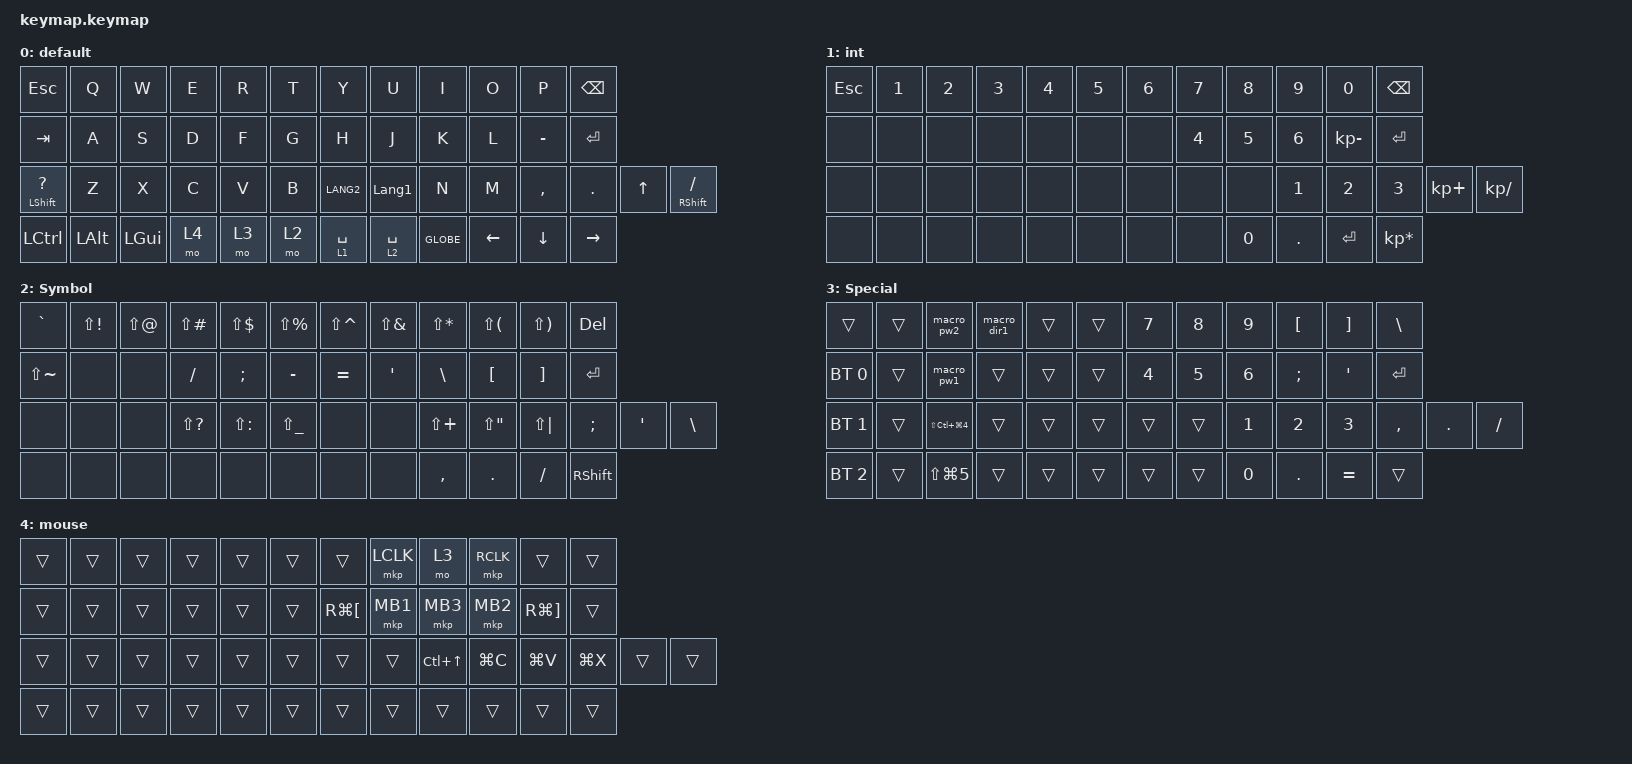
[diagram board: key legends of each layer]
#include <behaviors.dtsi>
#include <dt-bindings/zmk/bt.h>
#include <dt-bindings/zmk/keys.h>
#include <dt-bindings/zmk/pointing.h>

/ {
    combos {
        compatible = "zmk,combos";

        copy {
            bindings = <&kp LG(C)>;
            key-positions = <27 28>;
        };

        paste {
            bindings = <&kp LG(V)>;
            key-positions = <28 29>;
        };

        cut {
            bindings = <&kp LG(X)>;
            key-positions = <26 27>;
        };
    };

    macros {
        macro_pw1: macro_pw1 {
            compatible = "zmk,behavior-macro";
            #binding-cells = <0>;
            wait-ms = <1>;
            tap-ms = <1>;
            bindings = <&kp N1 &kp N9 &kp N7 &kp N0 &kp N7 &kp N9 &kp N1>;
            label = "MACRO_PW1";
        };

        macro_pw2: macro_pw2 {
            compatible = "zmk,behavior-macro";
            #binding-cells = <0>;
            wait-ms = <1>;
            tap-ms = <1>;
            bindings = <&kp N2 &kp N0 &kp N1 &kp N8 &kp LS(S) &kp T &kp AT &kp F &kp Y &kp N1 &kp N1 &kp N2 &kp N0>;
            label = "MACRO_PW2";
        };

        macro_dir1: macro_dir1 {
            compatible = "zmk,behavior-macro";
            #binding-cells = <0>;
            bindings = <&kp H &kp B &kp N1 &kp N6 &kp N0 &kp N5 &kp N5>;
            label = "MACRO_DIR1";
        };
    };

    keymap {
        compatible = "zmk,keymap";

        default {
            bindings = <
&kp ESC             &kp Q         &kp W         &kp E  &kp R  &kp T  &kp Y        &kp U           &kp I      &kp O           &kp P           &kp BSPC
&kp TAB             &kp A         &kp S         &kp D  &kp F  &kp G  &kp H        &kp J           &kp K      &kp L           &kp MINUS       &kp ENTER
&mt LSHFT QUESTION  &kp Z         &kp X         &kp C  &kp V  &kp B  &kp LANG2    &kp LANGUAGE_1  &kp N      &kp M           &kp COMMA       &kp DOT          &kp UP_ARROW  &mt RIGHT_SHIFT SLASH
&kp LCTRL           &kp LEFT_ALT  &kp LEFT_GUI  &mo 4  &mo 3  &mo 2  &lt 1 SPACE  &lt 2 SPACE     &kp GLOBE  &kp LEFT_ARROW  &kp DOWN_ARROW  &kp RIGHT_ARROW
            >;
        };

        int {
            bindings = <
&kp ESCAPE  &kp N1  &kp N2  &kp N3  &kp N4  &kp N5  &kp N6  &kp N7  &kp N8  &kp N9   &kp N0        &kp BACKSPACE
&none       &none   &none   &none   &none   &none   &none   &kp N4  &kp N5  &kp N6   &kp KP_MINUS  &kp ENTER
&none       &none   &none   &none   &none   &none   &none   &none   &none   &kp N1   &kp N2        &kp N3           &kp KP_PLUS  &kp KP_DIVIDE
&none       &none   &none   &none   &none   &none   &none   &none   &kp N0  &kp DOT  &kp ENTER     &kp KP_ASTERISK
            >;
        };

        Symbol {
            bindings = <
&kp GRAVE      &kp LS(EXCL)  &kp LS(AT)  &kp LS(POUND)  &kp LS(DLLR)   &kp LS(PRCNT)  &kp LS(CARET)  &kp LS(AMPS)  &kp LS(STAR)  &kp LS(LPAR)  &kp LS(RPAR)  &kp DEL
&kp LS(TILDE)  &none         &none       &kp FSLH       &kp SEMI       &kp MINUS      &kp EQUAL      &kp SQT       &kp BSLH      &kp LBKT      &kp RBKT      &kp ENTER
&none          &none         &none       &kp LS(QMARK)  &kp LS(COLON)  &kp LS(UNDER)  &none          &none         &kp LS(PLUS)  &kp LS(DQT)   &kp LS(PIPE)  &kp SEMI   &kp APOS  &kp BACKSLASH
&none          &none         &none       &none          &none          &none          &none          &none         &kp COMMA     &kp DOT       &kp FSLH      &kp RSHFT
            >;
        };

        Special {
            bindings = <
&trans        &trans  &macro_pw2          &macro_dir1  &trans  &trans  &kp N7  &kp N8  &kp N9  &kp LBKT  &kp RBKT   &kp BSLH
&bt BT_SEL 0  &trans  &macro_pw1          &trans       &trans  &trans  &kp N4  &kp N5  &kp N6  &kp SEMI  &kp SQT    &kp ENTER
&bt BT_SEL 1  &trans  &kp LS(LC(LG(N4)))  &trans       &trans  &trans  &trans  &trans  &kp N1  &kp N2    &kp N3     &kp COMMA  &kp DOT  &kp FSLH
&bt BT_SEL 2  &trans  &kp LS(LG(N5))      &trans       &trans  &trans  &trans  &trans  &kp N0  &kp DOT   &kp EQUAL  &trans
            >;
        };

        mouse {
            bindings = <
&trans  &trans  &trans  &trans  &trans  &trans  &trans                &mkp LCLK  &mo 3             &mkp RCLK  &trans                 &trans
&trans  &trans  &trans  &trans  &trans  &trans  &kp RG(LEFT_BRACKET)  &mkp MB1   &mkp MB3          &mkp MB2   &kp RG(RIGHT_BRACKET)  &trans
&trans  &trans  &trans  &trans  &trans  &trans  &trans                &trans     &kp LC(UP_ARROW)  &kp LG(C)  &kp LG(V)              &kp LG(X)  &trans  &trans
&trans  &trans  &trans  &trans  &trans  &trans  &trans                &trans     &trans            &trans     &trans                 &trans
            >;
        };
    };
};
